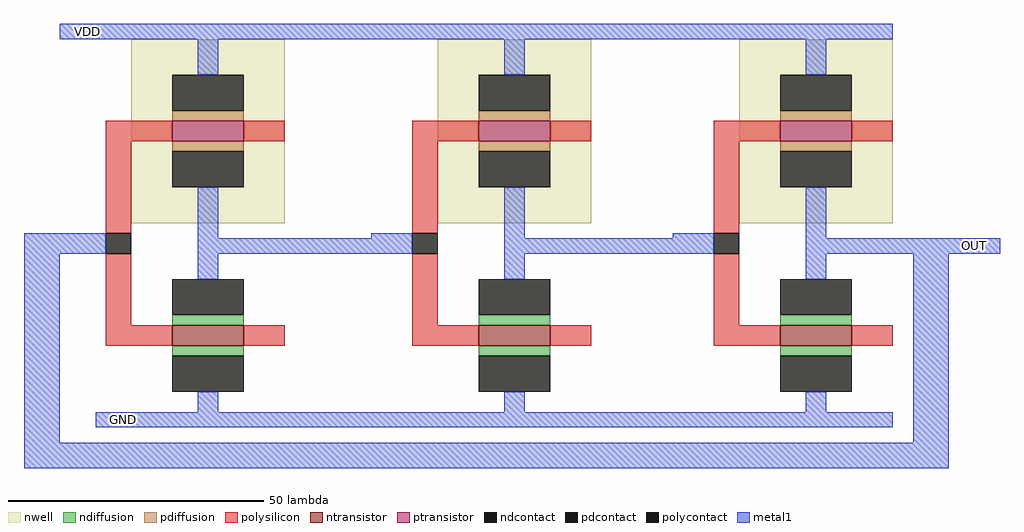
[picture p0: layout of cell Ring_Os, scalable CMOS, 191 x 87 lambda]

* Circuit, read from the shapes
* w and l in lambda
.subckt Ring_Os GND OUT VDD
M1 n1 OUT GND VSUBS nfet w=14 l=4
M2 n2 n1 GND VSUBS nfet w=14 l=4
M3 OUT n2 GND VSUBS nfet w=14 l=4
M4 VDD OUT n1 n3 pfet w=14 l=4
M5 VDD n1 n2 n4 pfet w=14 l=4
M6 VDD n2 OUT n5 pfet w=14 l=4
.ends

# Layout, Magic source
magic
tech scmos
<< metal1 >>
rect -76 74 77 77
rect -83 32 -71 36
rect -36 32 -11 35
rect 22 32 47 35
rect 82 32 108 35
rect -83 -5 -76 32
rect -69 -2 73 1
rect 91 -5 98 32
rect -83 -10 98 -5
use CMOS_in  CMOS_in_2
transform 1 0 57 0 1 38
box -13 -40 30 39
use CMOS_in  CMOS_in_1
transform 1 0 -2 0 1 38
box -13 -40 30 39
use CMOS_in  CMOS_in_0
transform 1 0 -62 0 1 38
box -13 -40 30 39
<< labels >>
flabel metal1 -76 74 -65 77 0 FreeSans 9 0 0 0 VDD
flabel metal1 -69 -2 -58 1 0 FreeSans 9 0 0 0 GND
flabel metal1 98 32 108 35 0 FreeSans 9 0 0 0 OUT
<< end >>

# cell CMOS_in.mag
magic
tech scmos
<< nwell >>
rect 0 0 30 36
<< ntransistor >>
rect 8 -24 22 -20
<< ptransistor >>
rect 8 16 22 20
<< ndiffusion >>
rect 8 -20 22 -18
rect 8 -26 22 -24
<< pdiffusion >>
rect 8 20 22 22
rect 8 14 22 16
<< ndcontact >>
rect 8 -18 22 -11
rect 8 -33 22 -26
<< pdcontact >>
rect 8 22 22 29
rect 8 7 22 14
<< polysilicon >>
rect -5 16 8 20
rect 22 16 30 20
rect -5 -2 0 16
rect -5 -20 0 -6
rect -5 -24 8 -20
rect 22 -24 30 -20
<< polycontact >>
rect -5 -6 0 -2
<< metal1 >>
rect 0 36 30 39
rect 13 29 17 36
rect -13 -6 -5 -2
rect 13 -3 17 7
rect 13 -6 30 -3
rect 13 -11 17 -6
rect 13 -37 17 -33
rect 0 -40 30 -37
<< end >>
